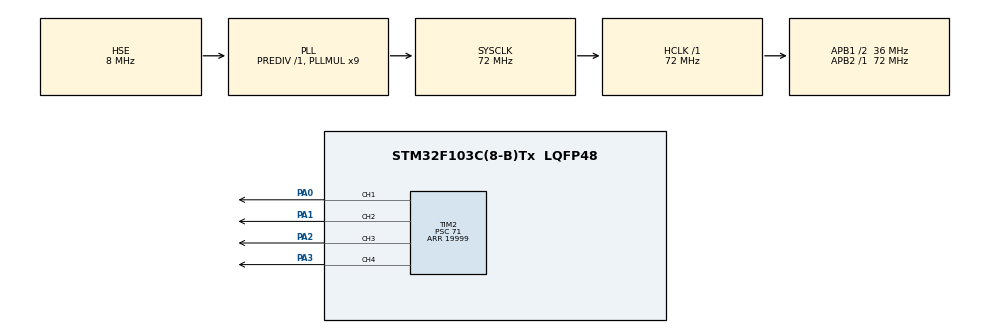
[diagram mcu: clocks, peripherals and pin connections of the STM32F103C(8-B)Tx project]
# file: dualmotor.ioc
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Mcu.Family=STM32F1
Mcu.Name=STM32F103C(8-B)Tx
Mcu.Package=LQFP48
NVIC.PriorityGroup=NVIC_PRIORITYGROUP_4
PA0-WKUP.Signal=S_TIM2_CH1_ETR
PA1.Signal=S_TIM2_CH2
PA13.Mode=Serial_Wire
PA13.Signal=SYS_JTMS-SWDIO
PA14.Mode=Serial_Wire
PA14.Signal=SYS_JTCK-SWCLK
PA2.Signal=S_TIM2_CH3
PA3.Signal=S_TIM2_CH4
PD0-OSC_IN.Mode=HSE-External-Oscillator
PD0-OSC_IN.Signal=RCC_OSC_IN
PD1-OSC_OUT.Mode=HSE-External-Oscillator
PD1-OSC_OUT.Signal=RCC_OSC_OUT
ProjectManager.HeapSize=0x200
ProjectManager.StackSize=0x400
ProjectManager.TargetToolchain=MDK-ARM V5.32
RCC.AHBFreq_Value=72000000
RCC.APB1CLKDivider=RCC_HCLK_DIV2
RCC.APB1Freq_Value=36000000
RCC.APB1TimFreq_Value=72000000
RCC.APB2Freq_Value=72000000
RCC.APB2TimFreq_Value=72000000
RCC.HCLKFreq_Value=72000000
RCC.PLLMUL=RCC_PLL_MUL9
RCC.PLLSourceVirtual=RCC_PLLSOURCE_HSE
RCC.SYSCLKFreq_VALUE=72000000
RCC.SYSCLKSource=RCC_SYSCLKSOURCE_PLLCLK
RCC.USBFreq_Value=72000000
SH.S_TIM2_CH1_ETR.0=TIM2_CH1,PWM Generation1 CH1
SH.S_TIM2_CH2.0=TIM2_CH2,PWM Generation2 CH2
SH.S_TIM2_CH3.0=TIM2_CH3,PWM Generation3 CH3
SH.S_TIM2_CH4.0=TIM2_CH4,PWM Generation4 CH4
TIM2.Channel-PWM\ Generation1\ CH1=TIM_CHANNEL_1
TIM2.Channel-PWM\ Generation2\ CH2=TIM_CHANNEL_2
TIM2.Channel-PWM\ Generation3\ CH3=TIM_CHANNEL_3
TIM2.Channel-PWM\ Generation4\ CH4=TIM_CHANNEL_4
TIM2.OCMode=TIM_OCMODE_PWM1
TIM2.Period=19999
TIM2.Prescaler=71
TIM2.Pulse=1500
board=custom

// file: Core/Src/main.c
/* USER CODE BEGIN Header */
/**
  ******************************************************************************
  * @file           : main.c
  * @brief          : Main program body
  ******************************************************************************
  * @attention
  *
  * Copyright (c) 2026 STMicroelectronics.
  * All rights reserved.
  *
  * This software is licensed under terms that can be found in the LICENSE file
  * in the root directory of this software component.
  * If no LICENSE file comes with this software, it is provided AS-IS.
  *
  ******************************************************************************
  */
/* USER CODE END Header */
#include "main.h"

TIM_HandleTypeDef htim2;

void SystemClock_Config(void);
static void MX_GPIO_Init(void);
static void MX_TIM2_Init(void);

/* USER CODE BEGIN 0 */

#define MOTOR_PULSE_REVERSE 1000U
#define MOTOR_PULSE_STOP    1500U
#define MOTOR_PULSE_FORWARD 2000U

#define MOTOR_TEST_TIME_MS  1000U
#define MOTOR_ARM_TIME_MS   3000U

/* 四路电调共用 TIM2：CH1->PA0(M1)，CH2->PA1(M2)，CH3->PA2(M3)，CH4->PA3(M4)。 */
static void Motor_SetAll(uint16_t pulse)
{
  __HAL_TIM_SET_COMPARE(&htim2, TIM_CHANNEL_1, pulse);
  __HAL_TIM_SET_COMPARE(&htim2, TIM_CHANNEL_2, pulse);
  __HAL_TIM_SET_COMPARE(&htim2, TIM_CHANNEL_3, pulse);
  __HAL_TIM_SET_COMPARE(&htim2, TIM_CHANNEL_4, pulse);
}

/* USER CODE END 0 */

int main(void)
{

  /* MCU Configuration--------------------------------------------------------*/

  /* Reset of all peripherals, Initializes the Flash interface and the Systick. */
  HAL_Init();

  /* Configure the system clock */
  SystemClock_Config();

  /* Initialize all configured peripherals */
  MX_GPIO_Init();
  MX_TIM2_Init();
  /* USER CODE BEGIN 2 */

  HAL_TIM_PWM_Start(&htim2, TIM_CHANNEL_1);
  HAL_TIM_PWM_Start(&htim2, TIM_CHANNEL_2);
  HAL_TIM_PWM_Start(&htim2, TIM_CHANNEL_3);
  HAL_TIM_PWM_Start(&htim2, TIM_CHANNEL_4);

  /* 上电先给四路 1500 微秒中位，等待电调解锁。 */
  Motor_SetAll(MOTOR_PULSE_STOP);
  HAL_Delay(MOTOR_ARM_TIME_MS);

  /* USER CODE END 2 */

  /* Infinite loop */
  while (1)
  {

    /* USER CODE BEGIN 3 */
    Motor_SetAll(MOTOR_PULSE_FORWARD);
    HAL_Delay(MOTOR_TEST_TIME_MS);

    Motor_SetAll(MOTOR_PULSE_REVERSE);
    HAL_Delay(MOTOR_TEST_TIME_MS);

    Motor_SetAll(MOTOR_PULSE_STOP);
    HAL_Delay(MOTOR_TEST_TIME_MS);
  }
  /* USER CODE END 3 */
}

void SystemClock_Config(void)
{
  RCC_OscInitTypeDef RCC_OscInitStruct = {0};
  RCC_ClkInitTypeDef RCC_ClkInitStruct = {0};

  /** Initializes the RCC Oscillators according to the specified parameters
  * in the RCC_OscInitTypeDef structure.
  */
  RCC_OscInitStruct.OscillatorType = RCC_OSCILLATORTYPE_HSE;
  RCC_OscInitStruct.HSEState = RCC_HSE_ON;
  RCC_OscInitStruct.HSEPredivValue = RCC_HSE_PREDIV_DIV1;
  RCC_OscInitStruct.HSIState = RCC_HSI_ON;
  RCC_OscInitStruct.PLL.PLLState = RCC_PLL_ON;
  RCC_OscInitStruct.PLL.PLLSource = RCC_PLLSOURCE_HSE;
  RCC_OscInitStruct.PLL.PLLMUL = RCC_PLL_MUL9;
  if (HAL_RCC_OscConfig(&RCC_OscInitStruct) != HAL_OK)
  {
    Error_Handler();
  }

  /** Initializes the CPU, AHB and APB buses clocks
  */
  RCC_ClkInitStruct.ClockType = RCC_CLOCKTYPE_HCLK|RCC_CLOCKTYPE_SYSCLK
                              |RCC_CLOCKTYPE_PCLK1|RCC_CLOCKTYPE_PCLK2;
  RCC_ClkInitStruct.SYSCLKSource = RCC_SYSCLKSOURCE_PLLCLK;
  RCC_ClkInitStruct.AHBCLKDivider = RCC_SYSCLK_DIV1;
  RCC_ClkInitStruct.APB1CLKDivider = RCC_HCLK_DIV2;
  RCC_ClkInitStruct.APB2CLKDivider = RCC_HCLK_DIV1;

  if (HAL_RCC_ClockConfig(&RCC_ClkInitStruct, FLASH_LATENCY_2) != HAL_OK)
  {
    Error_Handler();
  }
}

static void MX_TIM2_Init(void)
{

  TIM_MasterConfigTypeDef sMasterConfig = {0};
  TIM_OC_InitTypeDef sConfigOC = {0};

  htim2.Instance = TIM2;
  htim2.Init.Prescaler = 71;
  htim2.Init.CounterMode = TIM_COUNTERMODE_UP;
  htim2.Init.Period = 19999;
  htim2.Init.ClockDivision = TIM_CLOCKDIVISION_DIV1;
  htim2.Init.AutoReloadPreload = TIM_AUTORELOAD_PRELOAD_DISABLE;
  if (HAL_TIM_PWM_Init(&htim2) != HAL_OK)
  {
    Error_Handler();
  }
  sMasterConfig.MasterOutputTrigger = TIM_TRGO_RESET;
  sMasterConfig.MasterSlaveMode = TIM_MASTERSLAVEMODE_DISABLE;
  if (HAL_TIMEx_MasterConfigSynchronization(&htim2, &sMasterConfig) != HAL_OK)
  {
    Error_Handler();
  }
  sConfigOC.OCMode = TIM_OCMODE_PWM1;
  sConfigOC.Pulse = 1500;
  sConfigOC.OCPolarity = TIM_OCPOLARITY_HIGH;
  sConfigOC.OCFastMode = TIM_OCFAST_DISABLE;
  if (HAL_TIM_PWM_ConfigChannel(&htim2, &sConfigOC, TIM_CHANNEL_1) != HAL_OK)
  {
    Error_Handler();
  }
  if (HAL_TIM_PWM_ConfigChannel(&htim2, &sConfigOC, TIM_CHANNEL_2) != HAL_OK)
  {
    Error_Handler();
  }
  if (HAL_TIM_PWM_ConfigChannel(&htim2, &sConfigOC, TIM_CHANNEL_3) != HAL_OK)
  {
    Error_Handler();
  }
  if (HAL_TIM_PWM_ConfigChannel(&htim2, &sConfigOC, TIM_CHANNEL_4) != HAL_OK)
  {
    Error_Handler();
  }
  HAL_TIM_MspPostInit(&htim2);

}

static void MX_GPIO_Init(void)
{

  /* GPIO Ports Clock Enable */
  __HAL_RCC_GPIOD_CLK_ENABLE();
  __HAL_RCC_GPIOA_CLK_ENABLE();

}

void Error_Handler(void)
{
  __disable_irq();
  while (1)
  {
  }
}
